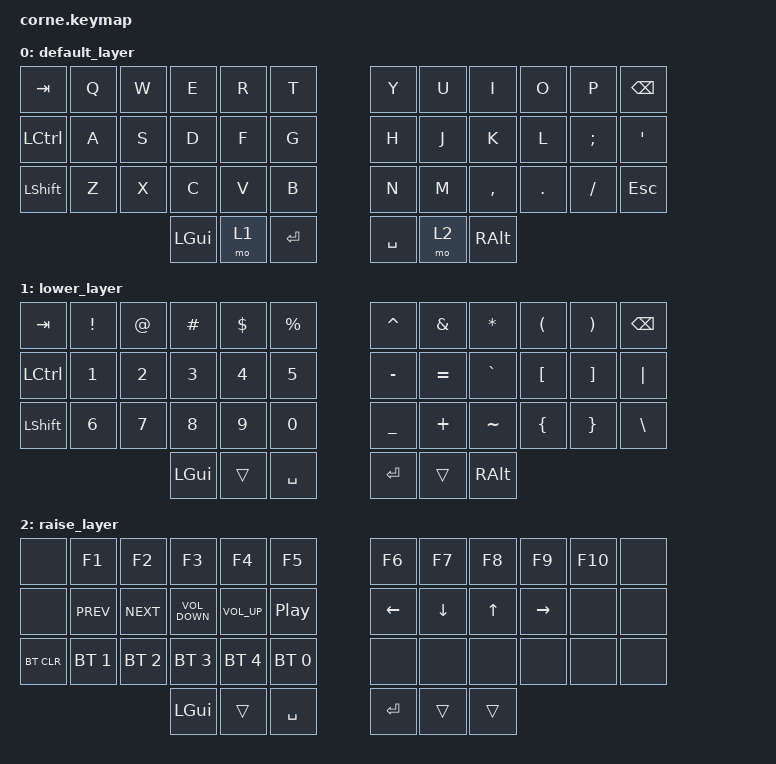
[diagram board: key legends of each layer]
/*
 * Copyright (c) 2020 The ZMK Contributors
 *
 * SPDX-License-Identifier: MIT
 */

#include <behaviors.dtsi>
#include <dt-bindings/zmk/bt.h>
#include <dt-bindings/zmk/keys.h>

/ {
    keymap {
        compatible = "zmk,keymap";

        default_layer {
            // -----------------------------------------------------------------------------------------
            // |  TAB |  Q  |  W  |  E  |  R  |  T  |   |  Y  |  U   |  I  |  O  |  P  | BKSP |
            // | CTRL |  A  |  S  |  D  |  F  |  G  |   |  H  |  J   |  K  |  L  |  ;  |  '   |
            // | SHFT |  Z  |  X  |  C  |  V  |  B  |   |  N  |  M   |  ,  |  .  |  /  | ESC  |
            //                    | GUI | LWR | SPC |   | ENT | RSE  | ALT |

            bindings = <
&kp TAB    &kp Q  &kp W  &kp E     &kp R  &kp T        &kp Y      &kp U  &kp I      &kp O    &kp P     &kp BSPC
&kp LCTRL  &kp A  &kp S  &kp D     &kp F  &kp G        &kp H      &kp J  &kp K      &kp L    &kp SEMI  &kp SQT
&kp LSHFT  &kp Z  &kp X  &kp C     &kp V  &kp B        &kp N      &kp M  &kp COMMA  &kp DOT  &kp FSLH  &kp ESC
                         &kp LGUI  &mo 1  &kp ENTER    &kp SPACE  &mo 2  &kp RALT
            >;
        };

        lower_layer {
            // -----------------------------------------------------------------------------------------
            // |  TAB |  1  |  2  |  3  |  4  |  5  |   |  6  |  7  |  8  |  9  |  0  | BKSP |
            // | BTCLR| BT1 | BT2 | BT3 | BT4 | BT5 |   | LFT | DWN |  UP | RGT |     |      |
            // | SHFT |     |     |     |     |     |   |     |     |     |     |     |      |
            //                    | GUI |     | SPC |   | ENT |     | ALT |

            bindings = <
&kp TAB         &kp EXCLAMATION  &kp AT_SIGN  &kp HASH  &kp DOLLAR  &kp PERCENT    &kp CARET       &kp AMPERSAND  &kp ASTERISK   &kp LEFT_PARENTHESIS  &kp RIGHT_PARENTHESIS  &kp BACKSPACE
&kp LCTRL       &kp N1           &kp N2       &kp N3    &kp N4      &kp N5         &kp MINUS       &kp EQUAL      &kp GRAVE      &kp LEFT_BRACKET      &kp RIGHT_BRACKET      &kp PIPE
&kp LEFT_SHIFT  &kp N6           &kp N7       &kp N8    &kp N9      &kp N0         &kp UNDERSCORE  &kp PLUS       &kp TILDE      &kp LEFT_BRACE        &kp RIGHT_BRACE        &kp BACKSLASH
                                              &kp LGUI  &trans      &kp SPACE      &kp RET         &trans         &kp RIGHT_ALT
            >;
        };

        raise_layer {
            // -----------------------------------------------------------------------------------------
            // |  TAB |  !  |  @  |  #  |  $  |  %  |   |  ^  |  &  |  *  |  (  |  )  | BKSP |
            // | CTRL |     |     |     |     |     |   |  -  |  =  |  [  |  ]  |  \  |  `   |
            // | SHFT |     |     |     |     |     |   |  _  |  +  |  {  |  }  | "|" |  ~   |
            //                    | GUI |     | SPC |   | ENT |     | ALT |

            bindings = <
&none       &kp F1        &kp F2        &kp F3             &kp F4           &kp F5              &kp F6    &kp F7    &kp F8  &kp F9     &kp F10  &none
&none       &kp C_PREV    &kp C_NEXT    &kp C_VOLUME_DOWN  &kp C_VOLUME_UP  &kp C_PLAY_PAUSE    &kp LEFT  &kp DOWN  &kp UP  &kp RIGHT  &none    &none
&bt BT_CLR  &bt BT_SEL 1  &bt BT_SEL 2  &bt BT_SEL 3       &bt BT_SEL 4     &bt BT_SEL 0        &none     &none     &none   &none      &none    &none
                                        &kp LGUI           &trans           &kp SPACE           &kp RET   &trans    &trans
            >;
        };
    };

    conditional_layers {
        compatible = "zmk,conditional-layers";

        e {
            if-layers = <1 2>;
            then-layer = <3>;
        };
    };
};
